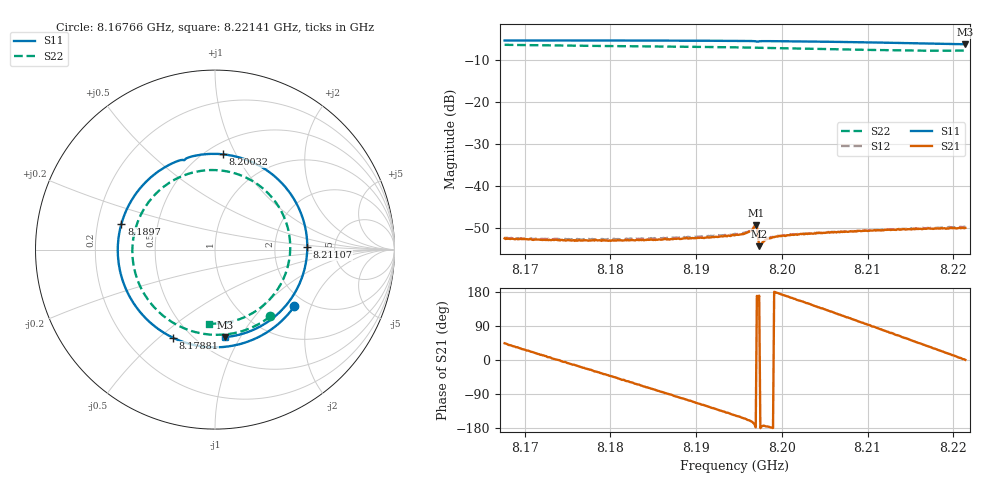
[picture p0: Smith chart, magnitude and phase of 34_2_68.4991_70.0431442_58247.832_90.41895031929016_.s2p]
#  HZ  S  RI  R  50.00
! Rohde & Schwarz Vector Network Analyzer
! Rohde-Schwarz,ZNB20-2Port,1311601062101988,3.16
! Created: UTC 3/20/2024, 5:05:12 PM
! freq[Hz]  re:S11  im:S11  re:S21  im:S21  re:S12  im:S12  re:S22  im:S22
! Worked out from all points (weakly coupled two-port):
!   401 points, 8.16766 GHz to 8.22141 GHz, reference 50 ohm
!   highest |S21| = -49.26 dB at 8.19696 GHz (marker M1); lowest = -54.3 dB at 8.19736 GHz (marker M2)
!   lowest |S11| = -6.2 dB at 8.22141 GHz (marker M3), VSWR 2.93, Z = 33.6 - j43.1 ohm
!   |S11| at or under -10 dB: nowhere
!   |S22| runs from -7.7 to -6.3 dB; largest |S21 - S12| = 0.0002
!   S11 on the Smith chart (normalised r, x): 8.16766 GHz: 1.72, -1.54; 8.17881 GHz: 0.40, -0.56; 8.1897 GHz: 0.30, +0.12; 8.20032 GHz: 0.60, +0.89; 8.21107 GHz: 3.11, +0.12; 8.22141 GHz: 0.67, -0.86
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8.16766e9  0.4429 -0.315  0.00171 0.00166  0.00174 0.00166  0.3084 -0.3721
8.172363e9  0.195 -0.5083  0.00224 0.00042  0.00231 0.000427  0.0587 -0.4727
8.176663e9  -0.0944 -0.5361  0.00211 -0.000751  0.00217 -0.000766  -0.1808 -0.4348
8.178813e9  -0.2347 -0.4906  0.00186 -0.00126  0.0019 -0.00129  -0.2845 -0.3721
8.182442e9  -0.4282 -0.3343  0.00117 -0.00194  0.00119 -0.00205  -0.4119 -0.215
8.185667e9  -0.5256 -0.134  0.000329 -0.00229  0.000299 -0.00236  -0.4593 -0.043
8.189699e9  -0.5212 0.1445  -0.000846 -0.00224  -0.00097 -0.00227  -0.4217 0.1759
8.191983e9  -0.4553 0.2899  -0.00148 -0.00197  -0.00159 -0.00199  -0.3547 0.2838
8.194537e9  -0.3345 0.4216  -0.00215 -0.00145  -0.00228 -0.00144  -0.2474 0.3767
8.196821e9  -0.1905 0.4986  -0.00324 -0.000567  -0.00336 -0.000434  -0.1301 0.4276
8.196955e9  -0.1803 0.4996  -0.00344 -0.000139  -0.00354 2.82e-06  -0.1226 0.4295
8.197359e9  -0.1631 0.506  -0.00189 0.000341  -0.00191 0.00042  -0.1009 0.4344
8.197627e9  -0.1443 0.5145  -0.00203 -0.000153  -0.00204 -7.55e-05  -0.0858 0.4375
8.198434e9  -0.087 0.5274  -0.00236 -0.000168  -0.00239 -5.26e-05  -0.0405 0.4426
8.200315e9  0.0461 0.5307  -0.00251 0.000424  -0.00254 0.000553  0.0661 0.4359
8.20354e9  0.2609 0.4595  -0.00222 0.00155  -0.0022 0.00161  0.2356 0.3648
8.207572e9  0.4553 0.2544  -0.0011 0.00264  -0.00101 0.00269  0.3837 0.184
8.211066e9  0.5142 0.0143  0.000274 0.00296  0.000345 0.00298  0.4178 -0.0217
8.212544e9  0.503 -0.0908  0.000916 0.00288  0.000954 0.00285  0.4007 -0.1109
8.214829e9  0.4433 -0.2433  0.00178 0.00249  0.00189 0.00251  0.337 -0.2382
8.217382e9  0.3228 -0.3814  0.00258 0.00172  0.0027 0.00168  0.218 -0.3485
8.221414e9  0.0553 -0.4876  0.00317 2.12e-05  0.00328 -9.73e-05  -0.0356 -0.4118
